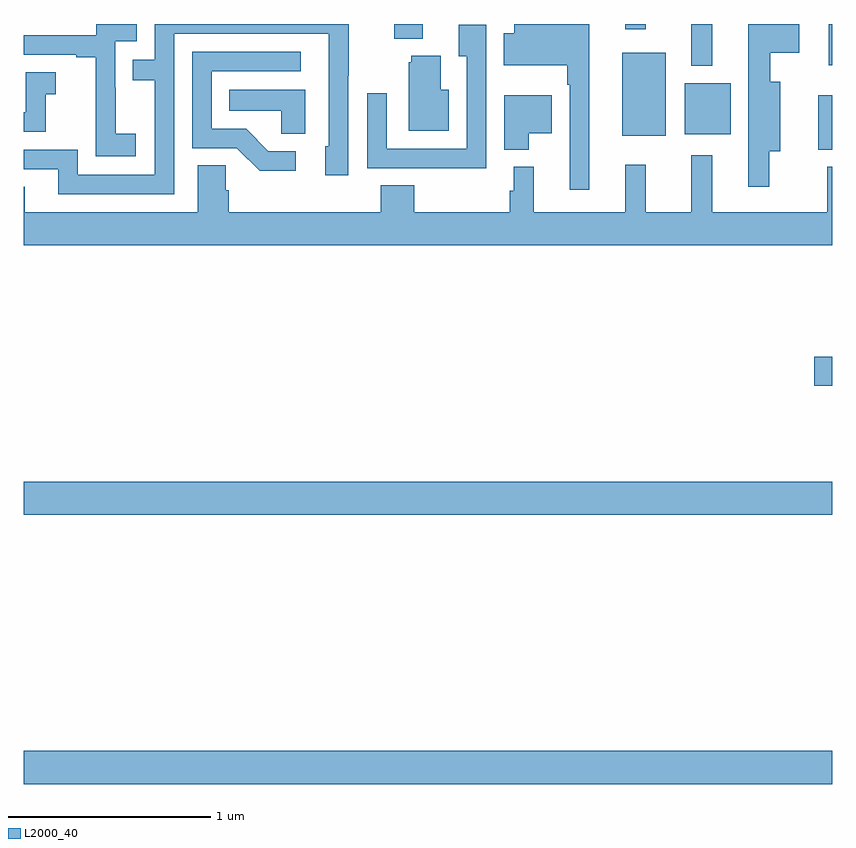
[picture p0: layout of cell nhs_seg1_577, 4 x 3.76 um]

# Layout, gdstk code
import gdstk
lib = gdstk.Library(unit=1e-6, precision=1e-09)
def R(c, l, rs):  # rectangles x0, y0, x1, y1
    for r in rs: c.add(gdstk.rectangle(r[:2], r[2:], *l))
def P(c, l, *ps):  # polygons
    for p in ps: c.add(gdstk.Polygon(p, *l))
L2000_40 = (2000, 40)

nhs_seg1_577 = lib.new_cell('nhs_seg1_577')
R(nhs_seg1_577, L2000_40, [(143,510.44,147,510.604), (143,511.772,147,511.936), (146.91,512.41,147,512.552), (146.93,513.578,147,513.847), (145.961,513.647,146.176,514.057), (146.27,513.653,146.497,513.907), (146.303,513.992,146.407,514.199), (146.982,513.995,147,514.199), (144.833,514.127,144.973,514.199), (145.976,514.173,146.076,514.199)])
P(nhs_seg1_577, L2000_40, [(146.689,513.569),(146.743,513.569),(146.743,513.913),(146.692,513.913),(146.692,514.058),(146.836,514.058),(146.836,514.199),(146.585,514.199),(146.585,513.393),(146.689,513.393)],
  [(145.798,514.199),(145.427,514.199),(145.427,514.153),(145.374,514.153),(145.374,513.995),(145.689,513.995),(145.689,513.899),(145.701,513.899),(145.701,513.378),(145.798,513.378)],
  [(143.554,513.655),(143.456,513.655),(143.456,513.884),(143.454,513.884),(143.454,514.113),(143.559,514.113),(143.559,514.199),(143.358,514.199),(143.358,514.143),(143,514.143),(143,514.047),(143.261,514.047),(143.261,514.035),(143.357,514.035),(143.357,513.751),(143.356,513.751),(143.356,513.545),(143.554,513.545)],
  [(143.745,514.152),(144.51,514.152),(144.51,513.594),(144.491,513.594),(144.491,513.45),(144.606,513.45),(144.606,513.943),(144.609,513.943),(144.609,514.199),(143.649,514.199),(143.649,514.023),(143.539,514.023),(143.539,513.922),(143.649,513.922),(143.649,513.453),(143.268,513.453),(143.268,513.576),(143,513.576),(143,513.48),(143.171,513.48),(143.171,513.357),(143.745,513.357)],
  [(145.287,514.195),(145.151,514.195),(145.151,514.039),(145.191,514.039),(145.191,513.582),(144.795,513.582),(144.795,513.856),(144.699,513.856),(144.699,513.486),(145.015,513.486),(145.015,513.485),(145.287,513.485)],
  [(144.346,513.57),(144.211,513.57),(144.1,513.681),(143.931,513.681),(143.931,513.966),(144.37,513.966),(144.37,514.062),(143.835,514.062),(143.835,513.585),(144.054,513.585),(144.167,513.472),(144.346,513.472)],
  [(145.102,513.874),(145.063,513.874),(145.063,514.042),(144.917,514.042),(144.917,514.011),(144.905,514.011),(144.905,513.671),(145.102,513.671)],
  [(143.109,513.851),(143.158,513.851),(143.158,513.961),(143.01,513.961),(143.01,513.762),(143,513.762),(143,513.666),(143.109,513.666)],
  [(144.394,513.874),(144.016,513.874),(144.016,513.77),(144.273,513.77),(144.273,513.655),(144.394,513.655)],
  [(145.498,513.659),(145.612,513.659),(145.612,513.847),(145.376,513.847),(145.376,513.578),(145.498,513.578)],
  [(147,513.493),(146.974,513.493),(146.974,513.268),(146.407,513.268),(146.407,513.55),(146.303,513.55),(146.303,513.268),(146.076,513.268),(146.076,513.502),(145.976,513.502),(145.976,513.268),(145.523,513.268),(145.523,513.493),(145.424,513.493),(145.424,513.375),(145.405,513.375),(145.405,513.268),(144.932,513.268),(144.932,513.401),(144.767,513.401),(144.767,513.268),(144.014,513.268),(144.014,513.377),(144,513.377),(144,513.5),(143.861,513.5),(143.861,513.268),(143.005,513.268),(143.005,513.395),(143,513.395),(143,513.104),(147,513.104)])

lib.write_gds('nhs_seg1_577.gds')
